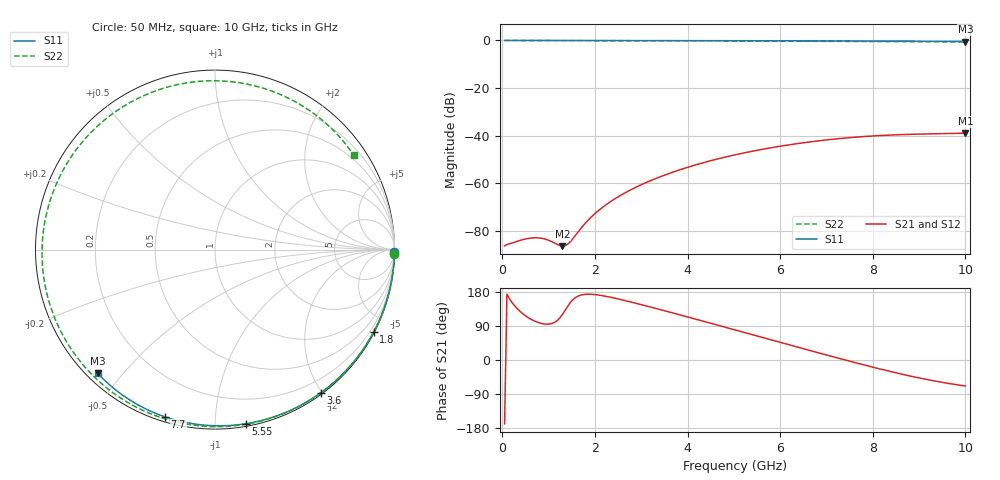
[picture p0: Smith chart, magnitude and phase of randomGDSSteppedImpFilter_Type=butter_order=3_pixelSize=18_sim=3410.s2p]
! freq	dB(S11)	phase(S11)	dB(S12)	phase(S12)
!  dB(S21)	phase(S21)	dB(S22)	phase(S22)
!S-par simulation data
#  GHz  S  DB  R 50
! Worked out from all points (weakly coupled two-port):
!   200 points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, 50 MHz to 10 GHz, reference 50 ohm
!   highest |S21| = -38.90 dB at 10 GHz (marker M1); lowest = -86.3 dB at 1.3 GHz (marker M2)
!   lowest |S11| = -0.4 dB at 10 GHz (marker M3), VSWR 38.62, Z = 1.53 - j21.5 ohm
!   |S11| at or under -10 dB: nowhere
!   |S22| runs from -0.6 to 0.0 dB; largest |S21 - S12| = 0
!   S11 on the Smith chart (normalised r, x): 50 MHz: open; 1.8 GHz: 0.04, -4.11; 3.6 GHz: 0.02, -1.99; 5.55 GHz: 0.02, -1.19; 7.7 GHz: 0.02, -0.74; 10 GHz: 0.03, -0.43
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0.05  -0.00 -0.8  -86.16 -168.4  -86.16 -168.4  -0.00 -1.5
0.65  -0.01 -10.0  -82.85 105.5  -82.85 105.5  -0.02 -19.3
1.3  -0.02 -19.9  -86.32 120.5  -86.32 120.5  -0.05 -38.2
1.65  -0.03 -25.1  -79.95 169.3  -79.95 169.3  -0.06 -48.3
1.75  -0.03 -26.6  -77.59 172.7  -77.59 172.7  -0.07 -51.2
1.8  -0.03 -27.4  -76.50 173.4  -76.50 173.4  -0.07 -52.6
2.1  -0.04 -31.8  -71.01 171.0  -71.01 171.0  -0.08 -61.1
2.45  -0.05 -37.0  -66.20 162.6  -66.20 162.6  -0.09 -71.0
3.4  -0.07 -50.6  -57.27 133.4  -57.27 133.4  -0.13 -97.5
3.6  -0.07 -53.5  -55.83 126.9  -55.83 126.9  -0.14 -103.0
4.3  -0.09 -63.2  -51.51 103.7  -51.51 103.7  -0.17 -122.4
5.05  -0.11 -73.3  -47.88 78.4  -47.88 78.4  -0.22 -143.7
5.55  -0.13 -79.8  -45.90 61.5  -45.90 61.5  -0.26 -158.3
6.15  -0.15 -87.5  -43.92 41.4  -43.92 41.4  -0.31 -176.6
6.7  -0.18 -94.4  -42.43 23.1  -42.43 23.1  -0.36 165.5
7.2  -0.21 -100.6  -41.33 6.6  -41.33 6.6  -0.41 148.1
7.7  -0.24 -106.6  -40.47 -9.5  -40.47 -9.5  -0.46 129.6
8.35  -0.29 -114.4  -39.71 -29.5  -39.71 -29.5  -0.51 103.9
8.75  -0.32 -119.0  -39.42 -40.8  -39.42 -40.8  -0.53 87.3
9.15  -0.36 -123.7  -39.23 -51.1  -39.23 -51.1  -0.55 70.3
9.55  -0.40 -128.3  -39.08 -60.1  -39.08 -60.1  -0.57 53.2
10  -0.45 -133.5  -38.90 -68.5  -38.90 -68.5  -0.58 34.3
